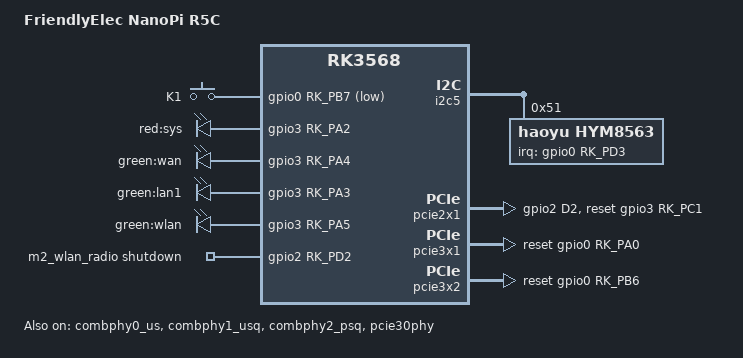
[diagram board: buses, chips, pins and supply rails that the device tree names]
// SPDX-License-Identifier: (GPL-2.0+ OR MIT)
/*
 * Copyright (c) 2022 FriendlyElec Computer Tech. Co., Ltd.
 * (http://www.friendlyelec.com)
 */

/dts-v1/;

#include "rk3568.dtsi"
#include "rk3568-nanopi5-common.dtsi"

/ {
	model = "FriendlyElec NanoPi R5C";
	compatible = "friendlyelec,nanopi-r5c", "rockchip,rk3568";

	aliases {
		ethernet0 = &r8125_1;
		ethernet1 = &r8125_2;
	};

	gpio_keys: gpio-keys {
		compatible = "gpio-keys";
		pinctrl-names = "default";
		pinctrl-0 = <&key1_pin>;

		button@1 {
			debounce-interval = <50>;
			gpios = <&gpio0 RK_PB7 GPIO_ACTIVE_LOW>;
			label = "K1";
			linux,code = <BTN_1>;
			wakeup-source;
		};
	};

	gpio_leds: gpio-leds {
		compatible = "gpio-leds";

		sys_led: led-0 {
			gpios = <&gpio3 RK_PA2 GPIO_ACTIVE_HIGH>;
			label = "red:sys";
			linux,default-trigger = "heartbeat";
			pinctrl-names = "default";
			pinctrl-0 = <&sys_led_pin>;
		};

		wan_led: led-1 {
			gpios = <&gpio3 RK_PA4 GPIO_ACTIVE_HIGH>;
			label = "green:wan";
			pinctrl-names = "default";
			pinctrl-0 = <&wan_led_pin>;
		};

		lan1_led: led-2 {
			gpios = <&gpio3 RK_PA3 GPIO_ACTIVE_HIGH>;
			label = "green:lan1";
			pinctrl-names = "default";
			pinctrl-0 = <&lan1_led_pin>;
		};

		lan2_led: led-3 {
			gpios = <&gpio3 RK_PA5 GPIO_ACTIVE_HIGH>;
			label = "green:wlan";
			pinctrl-names = "default";
			pinctrl-0 = <&lan2_led_pin>;
		};
	};

	m2_wlan_radio: m2-wlan-radio {
		compatible = "rfkill-gpio";
		type = "wlan";
		shutdown-gpios = <&gpio2 RK_PD2 GPIO_ACTIVE_HIGH>;
	};
};

&combphy0_us {
	status = "okay";
};

&combphy1_usq {
	status = "okay";
};

&combphy2_psq {
	status = "okay";
};

&dfi {
	status = "disabled";
};

&dmc {
	status = "disabled";
};

&mach {
	hwrev = <2>;
	model = "NanoPi R5C";
};

&i2c5 {
	status = "okay";

	hym8563: hym8563@51 {
		compatible = "haoyu,hym8563";
		reg = <0x51>;
		pinctrl-names = "default";
		pinctrl-0 = <&rtc_int>;
		interrupt-parent = <&gpio0>;
		interrupts = <RK_PD3 IRQ_TYPE_LEVEL_LOW>;
		wakeup-source;
	};
};

&pcie30phy {
	status = "okay";
};

&pcie2x1 {
	num-viewport = <4>;
	pinctrl-names = "default";
	pinctrl-0 = <&m2_w_disable_pin>;
	reset-gpios = <&gpio3 RK_PC1 GPIO_ACTIVE_HIGH>;
	status = "okay";
};

&pcie3x1 {
	num-viewport = <4>;
	rockchip,bifurcation;
	rockchip,init-delay-ms = <100>;
	reset-gpios = <&gpio0 RK_PA0 GPIO_ACTIVE_HIGH>;
	status = "okay";

	pcie@10 {
		reg = <0x00100000 0 0 0 0>;
		#address-cells = <3>;
		#size-cells = <2>;

		r8125_2: pcie@10,0 {
			reg = <0x000000 0 0 0 0>;
			local-mac-address = [ 00 00 00 00 00 00 ];
		};
	};
};

&pcie3x2 {
	num-viewport = <4>;
	rockchip,bifurcation;
	reset-gpios = <&gpio0 RK_PB6 GPIO_ACTIVE_HIGH>;
	status = "okay";

	pcie@20 {
		reg = <0x00200000 0 0 0 0>;
		#address-cells = <3>;
		#size-cells = <2>;

		r8125_1: pcie@20,0 {
			reg = <0x000000 0 0 0 0>;
			local-mac-address = [ 00 00 00 00 00 00 ];
		};
	};
};

&pinctrl {
	gpio-key {
		key1_pin: key1-pin {
			rockchip,pins = <0 RK_PB7 RK_FUNC_GPIO &pcfg_pull_up>;
		};
	};

	gpio-leds {
		sys_led_pin: sys-led-pin {
			rockchip,pins =
				<3 RK_PA2 RK_FUNC_GPIO &pcfg_pull_none>;
		};

		wan_led_pin: wan-led-pin {
			rockchip,pins =
				<3 RK_PA4 RK_FUNC_GPIO &pcfg_pull_none>;
		};

		lan1_led_pin: lan1-led-pin {
			rockchip,pins =
				<3 RK_PA3 RK_FUNC_GPIO &pcfg_pull_none>;
		};

		lan2_led_pin: lan2-led-pin {
			rockchip,pins =
				<3 RK_PA5 RK_FUNC_GPIO &pcfg_pull_none>;
		};
	};

	m2-pins {
		m2_w_disable_pin: m2-w-disable-pin {
			rockchip,pins = <2 RK_PD2 RK_FUNC_GPIO &pcfg_output_high>;
		};
	};

	rtc {
		rtc_int: rtc-int {
			rockchip,pins =
				<0 RK_PD3 RK_FUNC_GPIO &pcfg_pull_up>;
		};
	};
};

&pwm0 {
	status = "disabled";
};

&sata2 {
	status = "disabled";
};

&sfc {
	status = "disabled";
};
